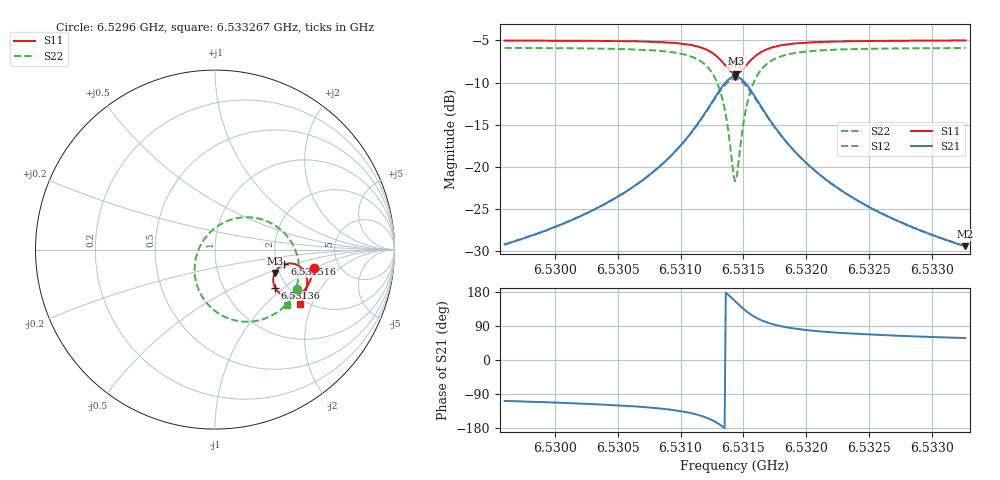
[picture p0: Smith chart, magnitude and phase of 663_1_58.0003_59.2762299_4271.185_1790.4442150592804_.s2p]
#  HZ  S  RI  R  50.00
! Rohde & Schwarz Vector Network Analyzer
! Rohde-Schwarz,ZNB20-2Port,1311601062101988,3.16
! Created: UTC 3/21/2024, 1:20:02 AM
! freq[Hz]  re:S11  im:S11  re:S21  im:S21  re:S12  im:S12  re:S22  im:S22
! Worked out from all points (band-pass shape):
!   401 points, 6.5296 GHz to 6.533267 GHz, reference 50 ohm
!   highest |S21| = -9.29 dB at 6.531433 GHz (marker M1); lowest = -29.4 dB at 6.533267 GHz (marker M2)
!   |S21| within 3 dB of the highest: 6.531251 GHz to 6.531618 GHz (366.6 kHz wide, 0.00561 % of centre)
!   lowest |S11| = -8.9 dB at 6.531442 GHz (marker M3), VSWR 2.11, Z = 94.4 - j28.2 ohm
!   |S11| at or under -10 dB: nowhere
!   |S22| runs from -21.7 to -5.9 dB; largest |S21 - S12| = 0.014
!   S11 on the Smith chart (normalised r, x): 6.5296 GHz: 3.25, -0.95; 6.53136 GHz: 1.73, -0.87; 6.531516 GHz: 2.20, -0.43; 6.533267 GHz: 1.84, -1.64
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6.5295997e9  0.5515 -0.1006  -0.0107 -0.0331  -0.0114 -0.0327  0.4582 -0.2181
6.5302139e9  0.5378 -0.1529  -0.0219 -0.0467  -0.023 -0.0462  0.4218 -0.2763
6.5305715e9  0.5236 -0.1875  -0.037 -0.0617  -0.0387 -0.0605  0.3825 -0.3203
6.5308282e9  0.5052 -0.217  -0.061 -0.079  -0.0634 -0.0772  0.329 -0.3603
6.5310482e9  0.4727 -0.2467  -0.1094 -0.0993  -0.1124 -0.0951  0.2328 -0.3966
6.5312041e9  0.4216 -0.2623  -0.189 -0.1006  -0.1907 -0.0922  0.0893 -0.3884
6.5312957e9  0.371 -0.2496  -0.2668 -0.0619  -0.264 -0.0503  -0.0373 -0.3077
6.5313324e9  0.3489 -0.2319  -0.2988 -0.0252  -0.2926 -0.0136  -0.0836 -0.2399
6.5313599e9  0.3349 -0.2119  -0.3176 0.0131  -0.3086 0.0235  -0.1071 -0.1732
6.5314149e9  0.325 -0.1584  -0.3231 0.1094  -0.31 0.1145  -0.0974 -0.0143
6.5314333e9  0.3295 -0.1393  -0.3123 0.1424  -0.2987 0.1451  -0.0734 0.0373
6.5314424e9  0.3331 -0.1302  -0.3044 0.158  -0.2909 0.1595  -0.0578 0.0612
6.5314608e9  0.3431 -0.1136  -0.2843 0.1862  -0.2716 0.1854  -0.02 0.1033
6.5314791e9  0.356 -0.0996  -0.2598 0.2094  -0.2484 0.2069  0.0241 0.1368
6.5315158e9  0.3865 -0.0818  -0.2047 0.2384  -0.1963 0.2337  0.1195 0.1746
6.5315799e9  0.4371 -0.0788  -0.1165 0.2427  -0.1127 0.2383  0.2667 0.1664
6.5316716e9  0.4817 -0.1025  -0.0405 0.2062  -0.0389 0.2038  0.3891 0.089
6.5318091e9  0.5075 -0.1424  0.00397 0.1508  0.00516 0.15  0.4543 -0.0207
6.5320475e9  0.5136 -0.1896  0.0214 0.096  0.0226 0.0954  0.4682 -0.1326
6.5323226e9  0.5075 -0.2254  0.0231 0.0651  0.0243 0.0649  0.4557 -0.2009
6.5326618e9  0.4957 -0.2586  0.0214 0.0458  0.0221 0.0454  0.4358 -0.2519
6.5332669e9  0.4713 -0.3057  0.0179 0.0288  0.0186 0.0284  0.4013 -0.3095
